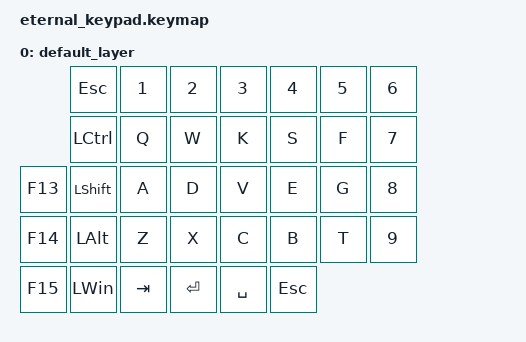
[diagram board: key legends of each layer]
/*
 * Copyright (c) 2022 The ZMK Contributors
 *
 * SPDX-License-Identifier: MIT
 */

#include <behaviors.dtsi>
#include <dt-bindings/zmk/keys.h>
#include <dt-bindings/zmk/bt.h>
#include <dt-bindings/zmk/outputs.h>
#include <dt-bindings/zmk/rgb.h>

#define BASE        0

/ {
  chosen {
      zmk,kscan = &kscan0;
      zmk,matrix_transform = &default_transform;
  };

  keymap {
    compatible = "zmk,keymap";

    default_layer {
      bindings = <
                    &kp ESC   &kp N1    &kp N2   &kp N3    &kp N4    &kp N5  &kp N6
                    &kp LCTRL &kp Q     &kp W    &kp K     &kp S     &kp F   &kp N7
        &kp F13     &kp LSHFT &kp A     &kp D    &kp V     &kp E     &kp G   &kp N8
        &kp F14     &kp LALT  &kp Z     &kp X    &kp C     &kp B     &kp T   &kp N9
        &kp F15     &kp LWIN &kp TAB &kp ENTER &kp SPACE &kp ESC
      >;
    };
  };
};
